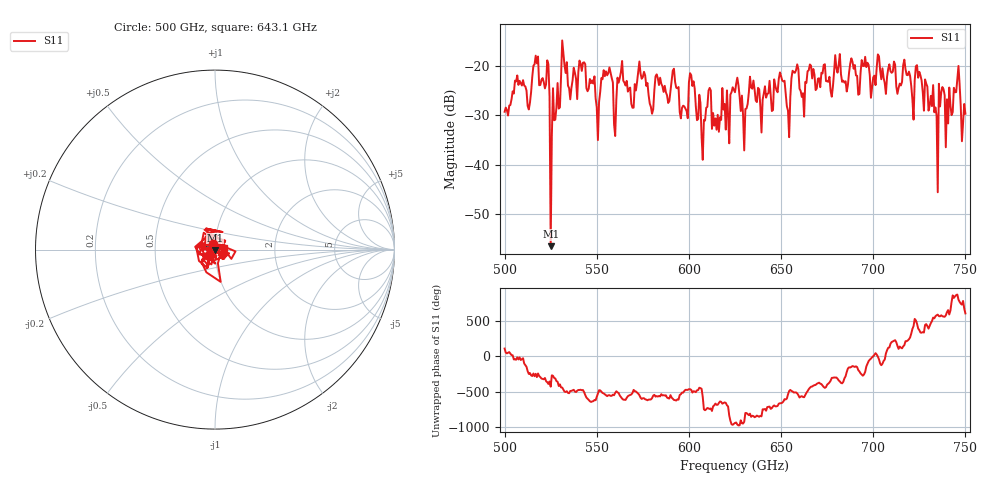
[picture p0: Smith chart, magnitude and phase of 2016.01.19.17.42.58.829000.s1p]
!Created with skrf (http://scikit-rf.org).
# GHz S RI R 50.0
!freq ReS11 ImS11
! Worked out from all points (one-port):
!   401 points, 500 GHz to 750 GHz, reference 50 ohm
!   lowest |S11| = -56.5 dB at 525 GHz (marker M1), VSWR 1.00, Z = 50.1 - j0.139 ohm
!   |S11| at or under -10 dB: start of sweep to end of sweep
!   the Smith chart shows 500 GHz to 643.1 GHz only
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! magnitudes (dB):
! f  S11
! 500 GHz  -29.2
! 513.1 GHz  -28.8
! 516.9 GHz  -17.9
! 523.1 GHz  -18.8
! 525 GHz  -56.5
! 526.2 GHz  -24.5
! 531.2 GHz  -14.8
! 542.5 GHz  -19.3
! 550.6 GHz  -35.0
! 556.2 GHz  -21.4
! 560.6 GHz  -26.8
! 562.5 GHz  -22.4
! 593.8 GHz  -24.5
! 601.9 GHz  -24.0
! 608.1 GHz  -30.9
! 610.6 GHz  -25.0
! 615 GHz  -32.9
! 625 GHz  -25.3
! 630.6 GHz  -28.7
! 633.8 GHz  -24.3
! 650.6 GHz  -22.9
! 653.8 GHz  -29.0
! 656.2 GHz  -20.9
! 687.5 GHz  -19.5
! 718.8 GHz  -21.8
! 733.8 GHz  -28.4
! 745.6 GHz  -22.6
! 750 GHz  -29.6
